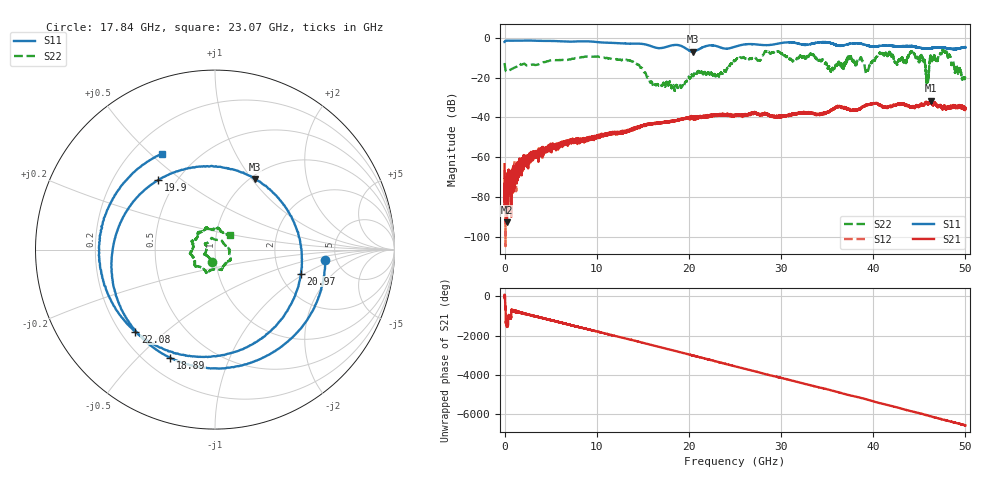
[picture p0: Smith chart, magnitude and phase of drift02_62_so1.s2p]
!Created with skrf (http://scikit-rf.org).
# Hz S RI R 50.0
!freq ReS11 ImS11 ReS21 ImS21 ReS12 ImS12 ReS22 ImS22
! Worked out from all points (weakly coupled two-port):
!   10001 points, 300 kHz to 50 GHz, reference 50 ohm
!   highest |S21| = -31.65 dB at 46.22 GHz (marker M1); lowest = -92.7 dB at 255.3 MHz (marker M2)
!   lowest |S11| = -6.9 dB at 20.4 GHz (marker M3), VSWR 2.64, Z = 52.7 + j51.8 ohm
!   |S11| at or under -10 dB: nowhere
!   |S22| runs from -26.6 to -6.0 dB; largest |S21 - S12| = 0.0032
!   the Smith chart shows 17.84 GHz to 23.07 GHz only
!   S11 on the Smith chart (normalised r, x): 17.84 GHz: 4.08, -0.73; 18.89 GHz: 0.30, -0.63; 19.9 GHz: 0.40, +0.41; 20.97 GHz: 2.59, -0.92; 22.08 GHz: 0.26, -0.40; 23.07 GHz: 0.32, +0.55
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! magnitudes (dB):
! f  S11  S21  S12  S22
! 300 kHz  -2.1  -63.6  -66.7  -12.7
! 255.3 MHz  -1.4  -92.7  -79.5  -17.0
! 2.955 GHz  -1.4  -61.0  -59.4  -13.5
! 8.335 GHz  -1.7  -51.8  -51.1  -9.7
! 13.71 GHz  -2.9  -46.4  -46.7  -11.7
! 16.67 GHz  -5.2  -43.0  -42.9  -23.7
! 17.84 GHz  -4.2  -42.2  -42.4  -23.2
! 18.89 GHz  -3.7  -41.2  -41.2  -24.0
! 19.9 GHz  -6.0  -40.2  -40.3  -20.0
! 20.4 GHz  -6.9  -39.9  -40.1  -18.9
! 20.97 GHz  -6.1  -40.0  -40.2  -16.8
! 22.08 GHz  -3.9  -39.6  -39.3  -17.6
! 23.07 GHz  -4.3  -38.8  -38.7  -18.8
! 25 GHz  -4.5  -38.9  -39.1  -11.5
! 33.34 GHz  -3.1  -38.1  -38.0  -8.3
! 39.33 GHz  -3.8  -33.8  -33.6  -16.6
! 41.67 GHz  -3.9  -34.6  -34.8  -7.7
! 44.28 GHz  -4.4  -34.7  -34.8  -7.5
! 45.85 GHz  -5.4  -32.7  -32.9  -19.2
! 46.22 GHz  -5.2  -31.6  -31.6  -9.6
! 47.76 GHz  -5.1  -34.4  -34.4  -7.0
! 50 GHz  -4.8  -35.3  -35.6  -18.5
